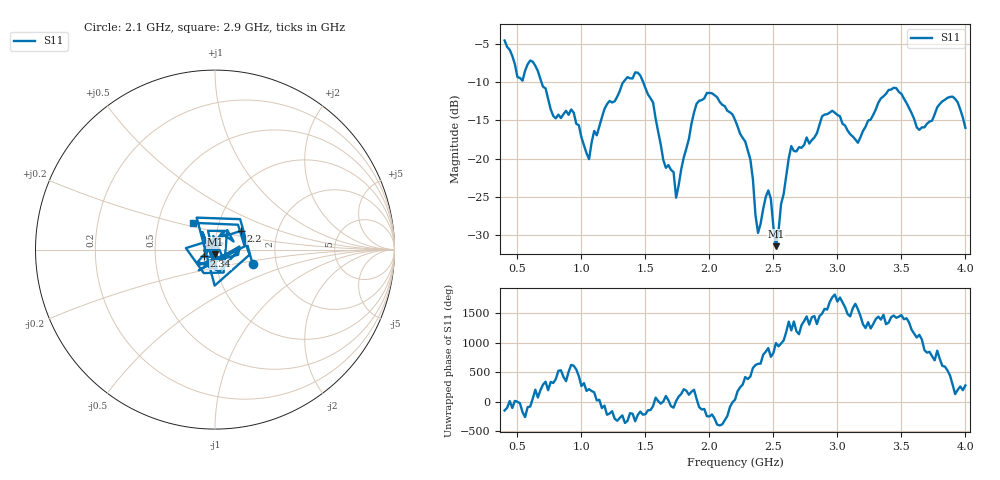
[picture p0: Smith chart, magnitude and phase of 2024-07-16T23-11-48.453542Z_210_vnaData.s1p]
!Created with skrf (http://scikit-rf.org).
# Hz S RI R 50.0
!freq ReS11 ImS11
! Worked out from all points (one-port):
!   181 points, 400 MHz to 4 GHz, reference 50 ohm
!   lowest |S11| = -31.5 dB at 2.52 GHz (marker M1), VSWR 1.05, Z = 50.1 - j2.67 ohm
!   |S11| at or under -10 dB: 687.8 MHz to 1.328 GHz (640 MHz wide, 63.5 % of centre); 1.483 GHz to end of sweep
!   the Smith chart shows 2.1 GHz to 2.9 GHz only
!   S11 on the Smith chart (normalised r, x): 2.1 GHz: 1.50, -0.26; 2.2 GHz: 1.31, +0.28; 2.34 GHz: 0.88, -0.07; 2.9 GHz: 0.75, +0.23
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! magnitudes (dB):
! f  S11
! 400 MHz  -4.5
! 500 MHz  -9.3
! 620 MHz  -7.3
! 780 MHz  -14.4
! 860 MHz  -14.2
! 940 MHz  -14.0
! 1.06 GHz  -20.1
! 1.3 GHz  -11.2
! 1.46 GHz  -9.1
! 1.74 GHz  -25.1
! 1.76 GHz  -23.5
! 1.9 GHz  -12.8
! 2.1 GHz  -13.0
! 2.2 GHz  -14.9
! 2.34 GHz  -22.7
! 2.38 GHz  -29.7
! 2.46 GHz  -24.2
! 2.52 GHz  -31.5
! 2.62 GHz  -19.9
! 2.66 GHz  -19.0
! 2.9 GHz  -14.2
! 3.1 GHz  -16.8
! 3.16 GHz  -17.9
! 3.4 GHz  -11.0
! 3.56 GHz  -13.4
! 3.64 GHz  -16.3
! 3.9 GHz  -11.9
! 4 GHz  -16.0
